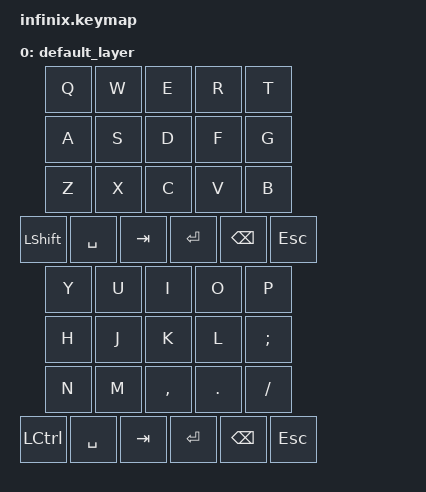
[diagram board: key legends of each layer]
/ {
    keymap {
        compatible = "zmk,keymap";

        default_layer {
            bindings = <
                &kp Q  &kp W  &kp E  &kp R  &kp T
                &kp A  &kp S  &kp D  &kp F  &kp G
                &kp Z  &kp X  &kp C  &kp V  &kp B
                &kp LSHFT &kp SPACE &kp TAB &kp ENTER &kp BSPC &kp ESC

                &kp Y  &kp U  &kp I  &kp O  &kp P
                &kp H  &kp J  &kp K  &kp L  &kp SEMI
                &kp N  &kp M  &kp COMMA &kp DOT &kp FSLH
                &kp LCTRL &kp SPACE &kp TAB &kp ENTER &kp BSPC &kp ESC
            >;
        };
    };
};
